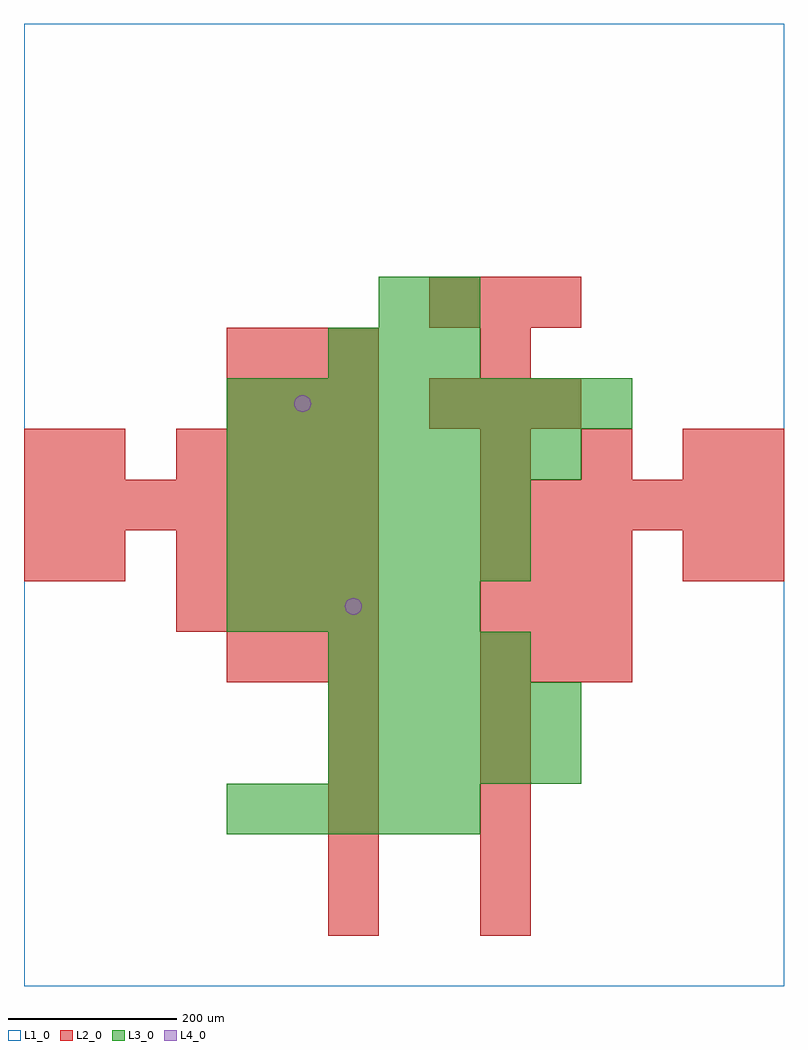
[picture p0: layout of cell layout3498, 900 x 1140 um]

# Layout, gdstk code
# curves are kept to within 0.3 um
import gdstk
lib = gdstk.Library(unit=1e-6, precision=1e-09)
def R(c, l, rs):  # rectangles x0, y0, x1, y1
    for r in rs: c.add(gdstk.rectangle(r[:2], r[2:], *l))
def A(c, l, x, y, w, h, nx, ny, dx, dy):  # array of equal rectangles
    R(c, l, [(x+i*dx, y+j*dy, x+i*dx+w, y+j*dy+h) for i in range(nx) for j in range(ny)])
def P(c, l, *ps):  # polygons
    for p in ps: c.add(gdstk.Polygon(p, *l))
L1_0 = (1, 0)
L2_0 = (2, 0)
L3_0 = (3, 0)
L4_0 = (4, 0)

layout3498 = lib.new_cell('layout3498')
R(layout3498, L1_0, [(0,0,900,1140)])
A(layout3498, L2_0, 360, 60, 60, 60, 1, 5, 0, 60)
A(layout3498, L2_0, 540, 60, 60, 60, 1, 5, 0, 60)
A(layout3498, L2_0, 240, 360, 60, 60, 3, 2, 60, 300)
A(layout3498, L2_0, 540, 360, 60, 60, 3, 3, 60, 60)
A(layout3498, L2_0, 180, 420, 60, 60, 4, 2, 60, 60)
A(layout3498, L2_0, 0, 540, 60, 60, 7, 1, 60, 0)
A(layout3498, L2_0, 540, 540, 60, 60, 6, 1, 60, 0)
A(layout3498, L2_0, 180, 600, 60, 60, 4, 1, 60, 0)
A(layout3498, L2_0, 540, 600, 60, 60, 3, 1, 120, 0)
A(layout3498, L2_0, 480, 660, 60, 60, 3, 2, 60, 120)
A(layout3498, L2_0, 240, 720, 60, 60, 3, 1, 60, 0)
R(layout3498, L2_0, [(0,480,60,540), (60,480,120,540), (780,480,840,540), (840,480,900,540), (0,600,60,660), (60,600,120,660), (840,600,900,660), (540,720,600,780)])
A(layout3498, L3_0, 240, 180, 60, 60, 5, 2, 60, 240)
A(layout3498, L3_0, 360, 240, 60, 60, 5, 2, 60, 60)
A(layout3498, L3_0, 360, 360, 60, 60, 4, 1, 60, 0)
A(layout3498, L3_0, 240, 480, 60, 60, 6, 2, 60, 60)
A(layout3498, L3_0, 240, 600, 60, 60, 7, 1, 60, 0)
A(layout3498, L3_0, 240, 660, 60, 60, 8, 1, 60, 0)
A(layout3498, L3_0, 360, 720, 60, 60, 3, 1, 60, 0)
R(layout3498, L3_0, [(420,780,480,840), (480,780,540,840)])
P(layout3498, L4_0, [(340,690),(339.239,693.827),(337.071,697.071),(333.827,699.239),(330,700),(326.173,699.239),(322.929,697.071),(320.761,693.827),(320,690),(320.761,686.173),(322.929,682.929),(326.173,680.761),(330,680),(333.827,680.761),(337.071,682.929),(339.239,686.173)],
  [(400,450),(399.239,453.827),(397.071,457.071),(393.827,459.239),(390,460),(386.173,459.239),(382.929,457.071),(380.761,453.827),(380,450),(380.761,446.173),(382.929,442.929),(386.173,440.761),(390,440),(393.827,440.761),(397.071,442.929),(399.239,446.173)])

lib.write_gds('layout3498.gds')
